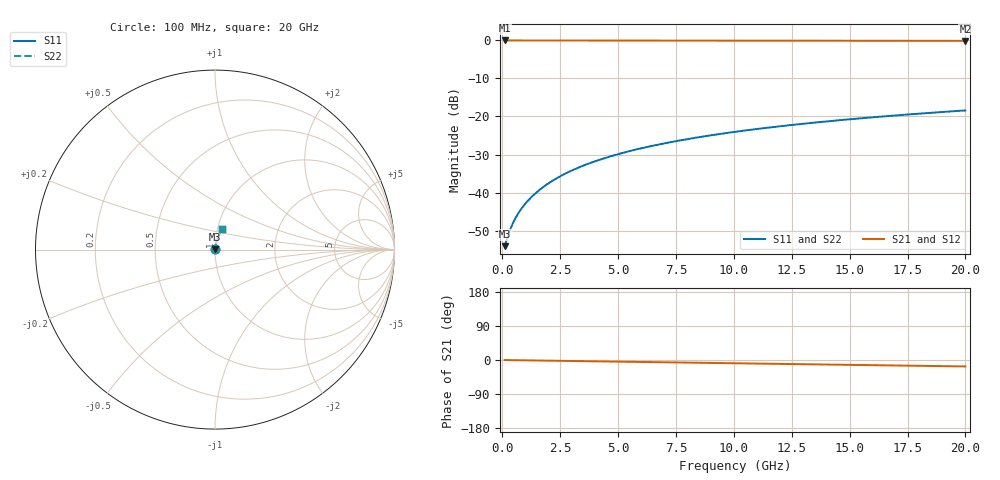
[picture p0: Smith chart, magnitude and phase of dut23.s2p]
! Touchstone file exported from HFSS 2026.1.0
!  File:  C:/ffzhzh/LocalFiles/Ansys_Project_Files/temp_train_TMRDL_23_1782880401_46784.aedt
!  Generated:  12:34:37 PM Jul  1, 2026
!  Design:  TMRDL
!  Project:  temp_train_TMRDL_23_1782880401_46784
! Variables:
!  h_bsmrdl = 2um
!  h_ox = 20um
!  h_rdl = 5um
!  h_sub = 80um
!  h_tmrdl = 2.71um
!  h_tsv = 80um
!  h_via = 3um
!  l_bsmrdl = 300um
!  l_sub = 654.48um
!  l_tmrdl = 254.48um
!  m_sub = 200um
!  pitch = 33.79um
!  r_tsv = 6um
!  s_tmrdl = 10um
!  w_bsmrdl = 18um
!  w_sub = 500um
!  w_tmrdl = 21.99um
!  x_tsv_center1 = 265.475um
!  x_tsv_center2 = 583.475um
!  x_tsv_center3 = 859.945um
!  x_tsv_center4 = 1177.945um
!  x_tsv_center5 = 1454.415um
!  x_tsv_center6 = 1772.415um
# GHz S MA R 50.000000
! Terminal data exported
! Port[1] = TM_RDL1_1_T1
! Port[2] = TM_RDL1_1_T2
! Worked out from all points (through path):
!   200 points, 100 MHz to 20 GHz, reference 50 ohm
!   highest |S21| = -0.02 dB at 100 MHz (marker M1); lowest = -0.1 dB at 20 GHz (marker M2)
!   group delay of S21, straight-line fit = 2.36 ps
!   lowest |S11| = -54.1 dB at 100 MHz (marker M3), VSWR 1.00, Z = 50.2 + j0.0786 ohm
!   |S11| at or under -10 dB: start of sweep to end of sweep
!   |S22| runs from -54.1 to -18.4 dB; largest |S21 - S12| = 3.1e-15
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0.1  0.001976 23.3  0.9982 -0.1  0.9982 -0.1  0.001976 23.3
! Gamma 0 0 0 0
! Port Impedance 50 0 50 0
0.3  0.00301 48.7  0.998 -0.3  0.998 -0.3  0.00301 48.7
0.4  0.003612 54.6  0.9979 -0.4  0.9979 -0.4  0.003612 54.6
0.5  0.004215 58.7  0.9978 -0.5  0.9978 -0.5  0.004216 58.7
0.6  0.004813 61.7  0.9977 -0.5  0.9977 -0.5  0.004814 61.7
0.7  0.005407 64.1  0.9977 -0.6  0.9977 -0.6  0.005407 64.1
0.9  0.006591 67.8  0.9976 -0.8  0.9976 -0.8  0.006592 67.8
1.2  0.008381 71.6  0.9975 -1.1  0.9975 -1.1  0.008382 71.6
1.4  0.009589 73.4  0.9974 -1.2  0.9974 -1.2  0.009589 73.4
1.7  0.01142 75.4  0.9974 -1.5  0.9974 -1.5  0.01142 75.4
2.2  0.0145 77.5  0.9972 -1.9  0.9972 -1.9  0.0145 77.5
2.8  0.01824 78.8  0.9971 -2.4  0.9971 -2.4  0.01824 78.8
3.5  0.02261 79.6  0.9969 -3.1  0.9969 -3.1  0.02261 79.6
4.2  0.02698 80.0  0.9966 -3.7  0.9966 -3.7  0.02698 80.0
5  0.03197 80.0  0.9963 -4.3  0.9963 -4.3  0.03197 80.0
5.9  0.03756 79.7  0.9959 -5.1  0.9959 -5.1  0.03756 79.7
6.8  0.04312 79.3  0.9955 -5.9  0.9955 -5.9  0.04312 79.3
8.3  0.05229 78.4  0.9947 -7.2  0.9947 -7.2  0.05229 78.4
10.1  0.06315 77.2  0.9935 -8.7  0.9935 -8.7  0.06315 77.2
13.4  0.08264 74.8  0.9913 -11.5  0.9913 -11.5  0.08264 74.8
16.7  0.1016 72.3  0.9887 -14.3  0.9887 -14.3  0.1016 72.3
20  0.1201 69.7  0.986 -17.0  0.986 -17.0  0.1201 69.7
